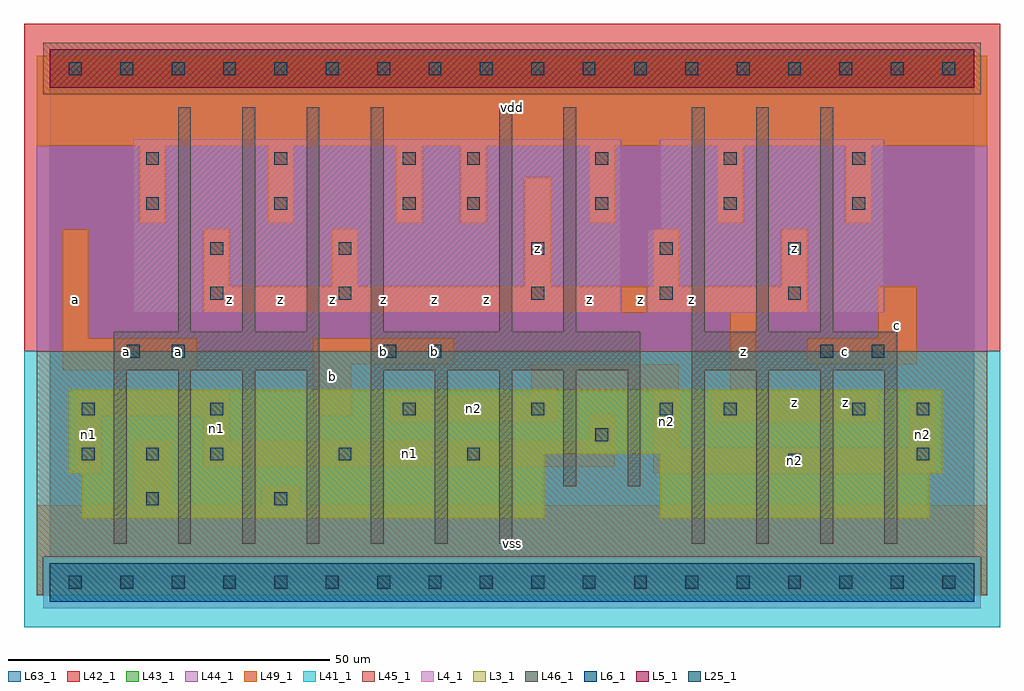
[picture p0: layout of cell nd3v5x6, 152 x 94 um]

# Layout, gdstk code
import gdstk
lib = gdstk.Library(unit=1e-6, precision=1e-09)
def R(c, l, rs):  # rectangles x0, y0, x1, y1
    for r in rs: c.add(gdstk.rectangle(r[:2], r[2:], *l))
def A(c, l, x, y, w, h, nx, ny, dx, dy):  # array of equal rectangles
    R(c, l, [(x+i*dx, y+j*dy, x+i*dx+w, y+j*dy+h) for i in range(nx) for j in range(ny)])
L3_1 = (3, 1)
L4_1 = (4, 1)
L5_1 = (5, 1)
L6_1 = (6, 1)
L25_1 = (25, 1)
L41_1 = (41, 1)
L42_1 = (42, 1)
L43_1 = (43, 1)
L44_1 = (44, 1)
L45_1 = (45, 1)
L46_1 = (46, 1)
L49_1 = (49, 1)
L63_1 = (63, 1)

nd3v5x6 = lib.new_cell('nd3v5x6')
R(nd3v5x6, L3_1, [(5,10,77,17), (95,10,137,17), (3,17,77,20), (95,17,139,20), (3,20,139,30)])
R(nd3v5x6, L4_1, [(13,42,89,69), (93,42,130,55), (95,55,130,69)])
R(nd3v5x6, L5_1, [(0,77,144,83)])
R(nd3v5x6, L6_1, [(0,-3,144,3), (0,-3,144,3)])
A(nd3v5x6, L25_1, 3, -1, 2, 2, 18, 2, 8, 80)
A(nd3v5x6, L25_1, 5, 19, 2, 2, 3, 1, 10, 0)
A(nd3v5x6, L25_1, 55, 26, 2, 2, 3, 1, 20, 0)
A(nd3v5x6, L25_1, 75, 44, 2, 2, 3, 2, 20, 7)
A(nd3v5x6, L25_1, 15, 58, 2, 2, 3, 2, 20, 7)
A(nd3v5x6, L25_1, 65, 58, 2, 2, 4, 2, 20, 7)
R(nd3v5x6, L25_1, [(15,12,17,14), (35,12,37,14), (115,18,117,20), (45,19,47,21), (65,19,67,21), (135,19,137,21), (85,22,87,24), (5,26,7,28), (25,26,27,28), (105,26,107,28), (125,26,127,28), (135,26,137,28), (12,35,14,37), (19,35,21,37), (52,35,54,37), (59,35,61,37), (120,35,122,37), (128,35,130,37), (25,44,27,46), (45,44,47,46), (25,51,27,53), (45,51,47,53)])
R(nd3v5x6, L41_1, [(-4,-7,148,36)])
R(nd3v5x6, L42_1, [(-4,36,148,87)])
R(nd3v5x6, L43_1, [(0,-3,144,3), (5,10,77,17), (95,10,137,17), (3,17,77,20), (95,17,139,20), (3,20,139,30), (13,42,89,69), (93,42,130,55), (95,55,130,69), (0,77,144,83)])
R(nd3v5x6, L44_1, [(-1,-4,145,4), (-2,36,146,76), (-2,76,-1,82), (145,76,146,82)])
R(nd3v5x6, L45_1, [(-2,-2,-1,4), (145,-2,146,4), (-2,4,146,36), (-1,76,145,84)])
A(nd3v5x6, L46_1, 10, 6, 2, 27, 7, 1, 10, 0)
A(nd3v5x6, L46_1, 100, 6, 2, 27, 4, 1, 10, 0)
A(nd3v5x6, L46_1, 20, 39, 2, 35, 4, 1, 10, 0)
A(nd3v5x6, L46_1, 100, 39, 2, 35, 3, 1, 10, 0)
R(nd3v5x6, L46_1, [(80,15,82,33), (90,15,92,33), (10,33,42,39), (50,33,92,39), (100,33,132,39), (70,39,72,74), (80,39,82,74)])
A(nd3v5x6, L49_1, 14, 56, 4, 12, 3, 1, 20, 0)
A(nd3v5x6, L49_1, 64, 56, 4, 12, 4, 1, 20, 0)
R(nd3v5x6, L49_1, [(-2,-2,146,12), (13,12,19,22), (33,12,39,15), (4,17,8,26), (94,17,138,21), (24,18,88,22), (94,21,98,30), (134,21,138,30), (24,22,28,26), (84,22,88,26), (53,25,79,29), (103,25,129,30), (4,26,28,30), (41,26,47,34), (75,29,79,30), (75,30,98,34), (106,30,110,42), (2,33,23,38), (41,34,63,38), (118,34,135,38), (2,38,6,55), (129,38,135,46), (24,42,118,46), (24,46,28,55), (44,46,48,55), (74,46,78,63), (94,46,98,55), (114,46,118,55), (-2,68,146,82)])
R(nd3v5x6, L63_1, [(0,0,144,80)])
nd3v5x6.add(gdstk.Label('n1', (6,23), layer=49, texttype=1))
nd3v5x6.add(gdstk.Label('a', (4,44), layer=49, texttype=1))
nd3v5x6.add(gdstk.Label('a', (12,36), layer=49, texttype=1))
nd3v5x6.add(gdstk.Label('a', (20,36), layer=49, texttype=1))
nd3v5x6.add(gdstk.Label('n1', (26,24), layer=49, texttype=1))
nd3v5x6.add(gdstk.Label('b', (44,32), layer=49, texttype=1))
nd3v5x6.add(gdstk.Label('z', (28,44), layer=49, texttype=1))
nd3v5x6.add(gdstk.Label('z', (44,44), layer=49, texttype=1))
nd3v5x6.add(gdstk.Label('z', (52,44), layer=49, texttype=1))
nd3v5x6.add(gdstk.Label('b', (52,36), layer=49, texttype=1))
nd3v5x6.add(gdstk.Label('z', (36,44), layer=49, texttype=1))
nd3v5x6.add(gdstk.Label('vss', (72,6), layer=49, texttype=1))
nd3v5x6.add(gdstk.Label('n2', (66,27), layer=49, texttype=1))
nd3v5x6.add(gdstk.Label('z', (60,44), layer=49, texttype=1))
nd3v5x6.add(gdstk.Label('b', (60,36), layer=49, texttype=1))
nd3v5x6.add(gdstk.Label('z', (84,44), layer=49, texttype=1))
nd3v5x6.add(gdstk.Label('z', (68,44), layer=49, texttype=1))
nd3v5x6.add(gdstk.Label('z', (76,52), layer=49, texttype=1))
nd3v5x6.add(gdstk.Label('vdd', (72,74), layer=49, texttype=1))
nd3v5x6.add(gdstk.Label('n1', (56,20), layer=49, texttype=1))
nd3v5x6.add(gdstk.Label('n2', (96,25), layer=49, texttype=1))
nd3v5x6.add(gdstk.Label('z', (92,44), layer=49, texttype=1))
nd3v5x6.add(gdstk.Label('z', (100,44), layer=49, texttype=1))
nd3v5x6.add(gdstk.Label('z', (108,36), layer=49, texttype=1))
nd3v5x6.add(gdstk.Label('z', (116,28), layer=49, texttype=1))
nd3v5x6.add(gdstk.Label('n2', (116,19), layer=49, texttype=1))
nd3v5x6.add(gdstk.Label('n2', (136,23), layer=49, texttype=1))
nd3v5x6.add(gdstk.Label('z', (124,28), layer=49, texttype=1))
nd3v5x6.add(gdstk.Label('c', (132,40), layer=49, texttype=1))
nd3v5x6.add(gdstk.Label('c', (124,36), layer=49, texttype=1))
nd3v5x6.add(gdstk.Label('z', (116,52), layer=49, texttype=1))

lib.write_gds('nd3v5x6.gds')
